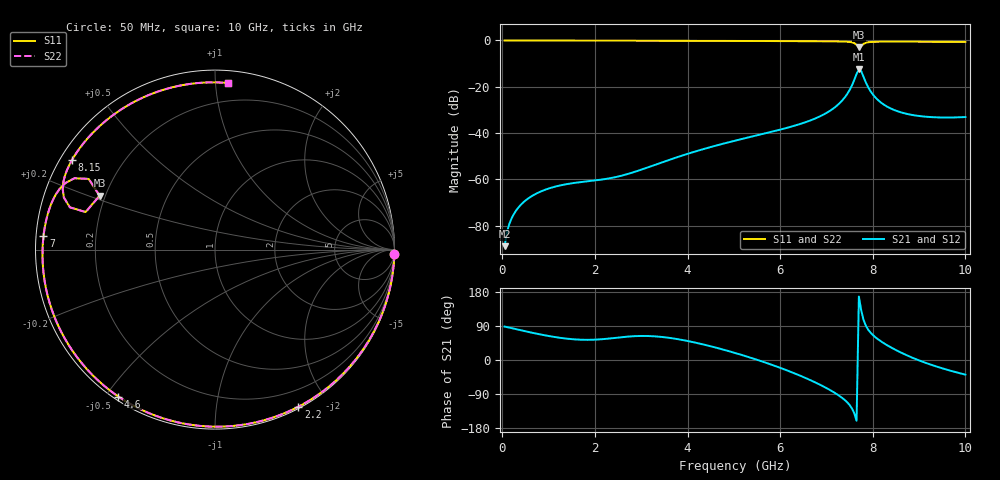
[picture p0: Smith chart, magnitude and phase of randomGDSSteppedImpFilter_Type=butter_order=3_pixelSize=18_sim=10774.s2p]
! freq	dB(S11)	phase(S11)	dB(S12)	phase(S12)
!  dB(S21)	phase(S21)	dB(S22)	phase(S22)
!S-par simulation data
#  GHz  S  DB  R 50
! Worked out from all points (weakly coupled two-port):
!   200 points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, 50 MHz to 10 GHz, reference 50 ohm
!   highest |S21| = -12.55 dB at 7.7 GHz (marker M1); lowest = -88.9 dB at 50 MHz (marker M2)
!   lowest |S11| = -3.0 dB at 7.7 GHz (marker M3), VSWR 5.90, Z = 8.88 + j10.8 ohm
!   |S11| at or under -10 dB: nowhere
!   |S22| runs from -3.0 to 0.0 dB; largest |S21 - S12| = 0
!   S11 on the Smith chart (normalised r, x): 50 MHz: 1, -78; 2.2 GHz: 0.02, -1.66; 4.6 GHz: 0.01, -0.54; 7 GHz: 0.02, +0.04; 8.15 GHz: 0.03, +0.29; 10 GHz: 0.08, +1.08
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0.05  -0.00 -1.5  -88.88 88.2  -88.88 88.2  -0.00 -1.5
0.15  -0.01 -4.4  -79.38 85.5  -79.38 85.5  -0.01 -4.4
0.4  -0.01 -11.6  -71.01 78.5  -71.01 78.5  -0.01 -11.6
0.7  -0.02 -20.2  -66.52 70.5  -66.52 70.5  -0.02 -20.2
1.15  -0.04 -33.0  -63.11 60.3  -63.11 60.3  -0.04 -33.0
1.75  -0.06 -49.8  -61.07 53.3  -61.07 53.3  -0.06 -49.8
2.2  -0.08 -62.0  -59.95 55.3  -59.95 55.3  -0.08 -62.0
3.4  -0.12 -93.4  -53.02 61.4  -53.02 61.4  -0.12 -93.4
4.6  -0.18 -123.3  -45.50 33.1  -45.50 33.1  -0.18 -123.4
5.05  -0.20 -134.4  -43.18 17.7  -43.18 17.7  -0.20 -134.4
5.9  -0.26 -155.5  -39.05 -16.1  -39.05 -16.1  -0.26 -155.5
6.7  -0.33 -176.1  -34.19 -55.8  -34.19 -55.8  -0.33 -176.2
7  -0.37 175.5  -31.33 -74.1  -31.33 -74.1  -0.37 175.5
7.4  -0.50 162.8  -24.49 -106.1  -24.49 -106.1  -0.50 162.7
7.6  -1.13 153.1  -17.08 -140.4  -17.08 -140.4  -1.13 153.0
7.7  -2.97 155.0  -12.55 167.5  -12.55 167.5  -2.99 154.9
7.75  -2.49 163.8  -13.28 131.2  -13.28 131.2  -2.50 163.8
7.85  -1.01 161.0  -18.14 90.5  -18.14 90.5  -1.01 161.0
8.15  -0.54 148.1  -26.40 51.5  -26.40 51.5  -0.54 148.1
8.35  -0.52 141.3  -29.02 36.2  -29.02 36.2  -0.52 141.3
9  -0.55 120.0  -32.65 -1.1  -32.65 -1.1  -0.55 120.0
10  -0.62 85.4  -33.08 -38.6  -33.08 -38.6  -0.62 85.4
